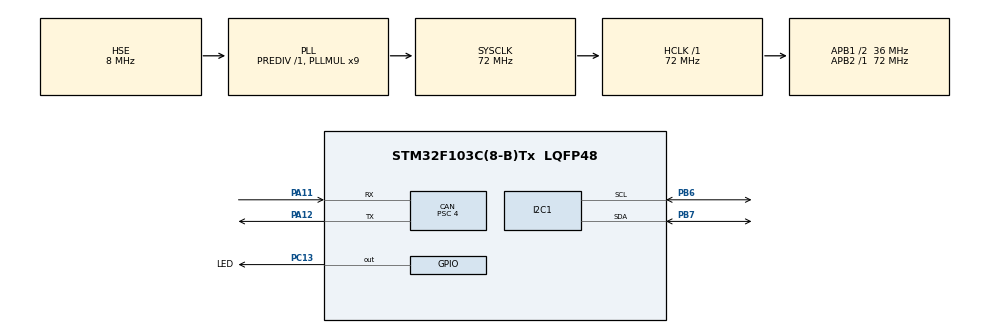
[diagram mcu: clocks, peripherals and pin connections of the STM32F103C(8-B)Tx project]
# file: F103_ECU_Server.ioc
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CAN.ABOM=ENABLE
CAN.BS1=CAN_BS1_13TQ
CAN.BS2=CAN_BS2_4TQ
CAN.CalculateTimeBit=2000
CAN.CalculateTimeQuantum=111.11111111111111
CAN.NART=ENABLE
CAN.Prescaler=4
FREERTOS.Tasks01=defaultTask,0,128,StartDefaultTask,Default,NULL,Dynamic,NULL,NULL
Mcu.Family=STM32F1
Mcu.Name=STM32F103C(8-B)Tx
Mcu.Package=LQFP48
NVIC.CAN1_SCE_IRQn=true\:5\:0\:false\:false\:true\:false\:true\:true
NVIC.PriorityGroup=NVIC_PRIORITYGROUP_4
NVIC.TIM1_UP_IRQn=true\:0\:0\:false\:false\:true\:false\:false\:true
NVIC.TimeBase=TIM1_UP_IRQn
NVIC.TimeBaseIP=TIM1
NVIC.USB_LP_CAN1_RX0_IRQn=true\:5\:0\:false\:false\:true\:false\:true\:true
PA11.Mode=Master
PA11.Signal=CAN_RX
PA12.Mode=Master
PA12.Signal=CAN_TX
PA13.Mode=Serial_Wire
PA13.Signal=SYS_JTMS-SWDIO
PA14.Mode=Serial_Wire
PA14.Signal=SYS_JTCK-SWCLK
PB6.Mode=I2C
PB6.Signal=I2C1_SCL
PB7.Mode=I2C
PB7.Signal=I2C1_SDA
PC13-TAMPER-RTC.GPIO_Label=LED
PC13-TAMPER-RTC.Signal=GPIO_Output
PD0-OSC_IN.Mode=HSE-External-Oscillator
PD0-OSC_IN.Signal=RCC_OSC_IN
PD1-OSC_OUT.Mode=HSE-External-Oscillator
PD1-OSC_OUT.Signal=RCC_OSC_OUT
ProjectManager.HeapSize=0x200
ProjectManager.StackSize=0x400
ProjectManager.TargetToolchain=STM32CubeIDE
RCC.AHBFreq_Value=72000000
RCC.APB1CLKDivider=RCC_HCLK_DIV2
RCC.APB1Freq_Value=36000000
RCC.APB1TimFreq_Value=72000000
RCC.APB2Freq_Value=72000000
RCC.APB2TimFreq_Value=72000000
RCC.HCLKFreq_Value=72000000
RCC.PLLMUL=RCC_PLL_MUL9
RCC.PLLSourceVirtual=RCC_PLLSOURCE_HSE
RCC.SYSCLKFreq_VALUE=72000000
RCC.SYSCLKSource=RCC_SYSCLKSOURCE_PLLCLK
RCC.USBFreq_Value=72000000
VP_FREERTOS_VS_CMSIS_V1.Mode=CMSIS_V1
VP_SYS_VS_tim1.Mode=TIM1
board=custom

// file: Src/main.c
/* USER CODE BEGIN Header */
/**
  ******************************************************************************
  * @file           : main.c
  * @brief          : Main program body
  ******************************************************************************
  * @attention
  *
  * <h2><center>&copy; Copyright (c) 2026 STMicroelectronics.
  * All rights reserved.</center></h2>
  *
  * This software component is licensed by ST under BSD 3-Clause license,
  * the "License"; You may not use this file except in compliance with the
  * License. You may obtain a copy of the License at:
  *                        opensource.org/licenses/BSD-3-Clause
  *
  ******************************************************************************
  */
/* USER CODE END Header */
#include "main.h"
#include "cmsis_os.h"

/* USER CODE BEGIN Includes */
#include "minidcm_osal.h"
#include "can_if.h"
#include "ecu_app.h"
#include "minidcm_error.h"
#include "minidcm_runtime_stats.h"
#include "minidcm_scheduler.h"
#include "queue.h"
#include "task.h"
#include "minidcm_task_runtime.h"
#include "mpu6050_hal_port.h"
/* USER CODE END Includes */

/* USER CODE BEGIN PTD */
static uint32_t F103_GetTickMs(void);
static void F103_EnterCritical(void);
static void F103_ExitCritical(void);
static void Led_MainFunction(uint32_t now_ms);
/* USER CODE END PTD */

/* USER CODE BEGIN PD */
#define ECU_SCHEDULER_TASK_COUNT 2u
/* USER CODE END PD */

CAN_HandleTypeDef hcan;

I2C_HandleTypeDef hi2c1;

osThreadId defaultTaskHandle;
/* USER CODE BEGIN PV */
osThreadId dcmTaskHandle;
osThreadId monitorTaskHandle;
osThreadId heartbeatTaskHandle;

static const MiniDcm_OsalConfigType g_osal_config =
{
    F103_GetTickMs,
    F103_EnterCritical,
    F103_ExitCritical,
    0
};

static MiniDcm_SchedulerType g_ecu_scheduler;
static MiniDcm_SchedulerTaskType g_ecu_scheduler_tasks[ECU_SCHEDULER_TASK_COUNT] =
{
    {EcuApp_MainFunction, 1u, 0u, TRUE},
    {Led_MainFunction, 500u, 0u, TRUE}
};
/* USER CODE END PV */

void SystemClock_Config(void);
static void MX_GPIO_Init(void);
static void MX_CAN_Init(void);
static void MX_I2C1_Init(void);
void StartDefaultTask(void const * argument);

/* USER CODE BEGIN PFP */
void StartDcmTask(void const * argument);
void StartMonitorTask(void const * argument);
void StartHeartbeatTask(void const * argument);

/* USER CODE END PFP */

/* USER CODE BEGIN 0 */
static uint32_t F103_GetTickMs(void)
{
    return HAL_GetTick();
}

static void F103_EnterCritical(void)
{
    taskENTER_CRITICAL();
}

static void F103_ExitCritical(void)
{
    taskEXIT_CRITICAL();
}

static void Led_MainFunction(uint32_t now_ms)
{
    (void)now_ms;
    HAL_GPIO_TogglePin(LED_GPIO_Port, LED_Pin);
}
static QueueHandle_t s_f103_can_rx_queue;

static CanIf_StatusType F103_CanRxQueuePushFromIsr(const CanIf_FrameType *frame, void *context)
{
    QueueHandle_t queue = (QueueHandle_t)context;

    if ((queue == NULL) || (frame == NULL))
    {
        return CANIF_ERR_PARAM;
    }

    if (xQueueSendFromISR(queue, frame, NULL) != pdPASS)
    {
        MiniDcm_TaskRuntime_OnCanRxQueuePushRejectedFromIsr();
        return CANIF_ERR_FULL;
    }

    MiniDcm_TaskRuntime_OnCanRxQueuePushFromIsr((uint32_t)uxQueueMessagesWaitingFromISR(queue));
    return CANIF_OK;
}

static CanIf_StatusType F103_CanRxQueuePop(CanIf_FrameType *frame, void *context)
{
    QueueHandle_t queue = (QueueHandle_t)context;

    if ((queue == NULL) || (frame == NULL))
    {
        return CANIF_ERR_PARAM;
    }

    return (xQueueReceive(queue, frame, 0u) == pdPASS) ? CANIF_OK : CANIF_ERR_EMPTY;
}

static CanIf_StatusType F103_ConfigureCanIfRxQueue(void)
{
    static const CanIf_RxQueueBackendType backend =
    {
        F103_CanRxQueuePushFromIsr,
        F103_CanRxQueuePop,
        0
    };
    CanIf_RxQueueBackendType configured_backend = backend;

    s_f103_can_rx_queue = xQueueCreate(16u, sizeof(CanIf_FrameType));
    if (s_f103_can_rx_queue == NULL)
    {
        return CANIF_ERR_FULL;
    }

    configured_backend.context = (void *)s_f103_can_rx_queue;
    return CanIf_SetRxQueueBackend(&configured_backend);
}

/* USER CODE END 0 */

int main(void)
{

  /* MCU Configuration--------------------------------------------------------*/

  /* Reset of all peripherals, Initializes the Flash interface and the Systick. */
  HAL_Init();

  /* Configure the system clock */
  SystemClock_Config();

  /* Initialize all configured peripherals */
  MX_GPIO_Init();
  MX_CAN_Init();
  MX_I2C1_Init();
  F103_Mpu6050_RegisterSensorApp();
  /* USER CODE BEGIN 2 */
  MiniDcm_Error_Init();

  if (MiniDcm_Osal_Init(&g_osal_config) != E_OK)
  {
      Error_Handler();
  }
  MiniDcm_RuntimeStats_Init();

  CanIf_Init(&hcan);
  if (F103_ConfigureCanIfRxQueue() != CANIF_OK)
  {
      Error_Handler();
  }
  if (CanIf_Start() != CANIF_OK)
  {
      Error_Handler();
  }

  if (MiniDcm_Scheduler_InitWithOsal(&g_ecu_scheduler,
                                     g_ecu_scheduler_tasks,
                                     ECU_SCHEDULER_TASK_COUNT) != E_OK)
  {
      Error_Handler();
  }
  /* USER CODE END 2 */

  /* Create the thread(s) */
  /* definition and creation of defaultTask */
  osThreadDef(defaultTask, StartDefaultTask, osPriorityNormal, 0, 128);
  defaultTaskHandle = osThreadCreate(osThread(defaultTask), NULL);

  /* USER CODE BEGIN RTOS_THREADS */
  osThreadDef(dcmTask, StartDcmTask, osPriorityAboveNormal, 0, 512);
  dcmTaskHandle = osThreadCreate(osThread(dcmTask), NULL);

  osThreadDef(monitorTask, StartMonitorTask, osPriorityNormal, 0, 256);
  monitorTaskHandle = osThreadCreate(osThread(monitorTask), NULL);

  osThreadDef(heartbeatTask, StartHeartbeatTask, osPriorityLow, 0, 128);
  heartbeatTaskHandle = osThreadCreate(osThread(heartbeatTask), NULL);

  if ((dcmTaskHandle == NULL) || (monitorTaskHandle == NULL) || (heartbeatTaskHandle == NULL))
  {
    Error_Handler();
  }
  /* USER CODE END RTOS_THREADS */

  /* Start scheduler */
  osKernelStart();

  /* We should never get here as control is now taken by the scheduler */
  /* Infinite loop */
  /* USER CODE BEGIN WHILE */
  while (1)
  {
      MiniDcm_Scheduler_RunWithOsal(&g_ecu_scheduler);
    /* USER CODE END WHILE */

  }
}

void SystemClock_Config(void)
{
  RCC_OscInitTypeDef RCC_OscInitStruct = {0};
  RCC_ClkInitTypeDef RCC_ClkInitStruct = {0};

  /** Initializes the RCC Oscillators according to the specified parameters
  * in the RCC_OscInitTypeDef structure.
  */
  RCC_OscInitStruct.OscillatorType = RCC_OSCILLATORTYPE_HSE;
  RCC_OscInitStruct.HSEState = RCC_HSE_ON;
  RCC_OscInitStruct.HSEPredivValue = RCC_HSE_PREDIV_DIV1;
  RCC_OscInitStruct.HSIState = RCC_HSI_ON;
  RCC_OscInitStruct.PLL.PLLState = RCC_PLL_ON;
  RCC_OscInitStruct.PLL.PLLSource = RCC_PLLSOURCE_HSE;
  RCC_OscInitStruct.PLL.PLLMUL = RCC_PLL_MUL9;
  if (HAL_RCC_OscConfig(&RCC_OscInitStruct) != HAL_OK)
  {
    Error_Handler();
  }
  /** Initializes the CPU, AHB and APB buses clocks
  */
  RCC_ClkInitStruct.ClockType = RCC_CLOCKTYPE_HCLK|RCC_CLOCKTYPE_SYSCLK
                              |RCC_CLOCKTYPE_PCLK1|RCC_CLOCKTYPE_PCLK2;
  RCC_ClkInitStruct.SYSCLKSource = RCC_SYSCLKSOURCE_PLLCLK;
  RCC_ClkInitStruct.AHBCLKDivider = RCC_SYSCLK_DIV1;
  RCC_ClkInitStruct.APB1CLKDivider = RCC_HCLK_DIV2;
  RCC_ClkInitStruct.APB2CLKDivider = RCC_HCLK_DIV1;

  if (HAL_RCC_ClockConfig(&RCC_ClkInitStruct, FLASH_LATENCY_2) != HAL_OK)
  {
    Error_Handler();
  }
}

static void MX_CAN_Init(void)
{

  hcan.Instance = CAN1;
  hcan.Init.Prescaler = 4;
  hcan.Init.Mode = CAN_MODE_NORMAL;
  hcan.Init.SyncJumpWidth = CAN_SJW_1TQ;
  hcan.Init.TimeSeg1 = CAN_BS1_13TQ;
  hcan.Init.TimeSeg2 = CAN_BS2_4TQ;
  hcan.Init.TimeTriggeredMode = DISABLE;
  hcan.Init.AutoBusOff = ENABLE;
  hcan.Init.AutoWakeUp = DISABLE;
  hcan.Init.AutoRetransmission = ENABLE;
  hcan.Init.ReceiveFifoLocked = DISABLE;
  hcan.Init.TransmitFifoPriority = DISABLE;
  if (HAL_CAN_Init(&hcan) != HAL_OK)
  {
    Error_Handler();
  }

}

static void MX_I2C1_Init(void)
{

  hi2c1.Instance = I2C1;
  hi2c1.Init.ClockSpeed = 100000;
  hi2c1.Init.DutyCycle = I2C_DUTYCYCLE_2;
  hi2c1.Init.OwnAddress1 = 0;
  hi2c1.Init.AddressingMode = I2C_ADDRESSINGMODE_7BIT;
  hi2c1.Init.DualAddressMode = I2C_DUALADDRESS_DISABLE;
  hi2c1.Init.OwnAddress2 = 0;
  hi2c1.Init.GeneralCallMode = I2C_GENERALCALL_DISABLE;
  hi2c1.Init.NoStretchMode = I2C_NOSTRETCH_DISABLE;
  if (HAL_I2C_Init(&hi2c1) != HAL_OK)
  {
    Error_Handler();
  }

}

static void MX_GPIO_Init(void)
{
  GPIO_InitTypeDef GPIO_InitStruct = {0};

  /* GPIO Ports Clock Enable */
  __HAL_RCC_GPIOC_CLK_ENABLE();
  __HAL_RCC_GPIOD_CLK_ENABLE();
  __HAL_RCC_GPIOA_CLK_ENABLE();
  __HAL_RCC_GPIOB_CLK_ENABLE();

  /*Configure GPIO pin Output Level */
  HAL_GPIO_WritePin(LED_GPIO_Port, LED_Pin, GPIO_PIN_RESET);

  /*Configure GPIO pin : LED_Pin */
  GPIO_InitStruct.Pin = LED_Pin;
  GPIO_InitStruct.Mode = GPIO_MODE_OUTPUT_PP;
  GPIO_InitStruct.Pull = GPIO_NOPULL;
  GPIO_InitStruct.Speed = GPIO_SPEED_FREQ_LOW;
  HAL_GPIO_Init(LED_GPIO_Port, &GPIO_InitStruct);

}

/* USER CODE BEGIN 4 */

static void MiniDcm_FreeRtosHeartbeatHook(void)
{
#if defined(LED_GPIO_Port) && defined(LED_Pin)
  HAL_GPIO_TogglePin(LED_GPIO_Port, LED_Pin);
#endif
}

void StartDcmTask(void const * argument)
{
  (void)argument;

  for (;;)
  {
    if (ulTaskNotifyTake(pdTRUE, pdMS_TO_TICKS(1u)) > 0u)
    {
      MiniDcm_TaskRuntime_RecordDcmNotificationWakeup();
    }
    MiniDcm_TaskRuntime_DcmOnce();
    MiniDcm_TaskRuntime_UpdateDcmStackHighWaterMark((uint32_t)uxTaskGetStackHighWaterMark(NULL));
    osDelay(1);
  }
}

void StartMonitorTask(void const * argument)
{
  (void)argument;

  for (;;)
  {
    MiniDcm_TaskRuntime_MonitorOnce();
    MiniDcm_TaskRuntime_UpdateMonitorStackHighWaterMark((uint32_t)uxTaskGetStackHighWaterMark(NULL));
    osDelay(100);
  }
}

void StartHeartbeatTask(void const * argument)
{
  (void)argument;

  for (;;)
  {
    MiniDcm_TaskRuntime_HeartbeatOnce(MiniDcm_FreeRtosHeartbeatHook);

    MiniDcm_TaskRuntime_UpdateHeartbeatStackHighWaterMark((uint32_t)uxTaskGetStackHighWaterMark(NULL));
    osDelay(500);
  }
}
void HAL_CAN_RxFifo0MsgPendingCallback(CAN_HandleTypeDef *hcan_arg)
{
    CanIf_FrameType rx_frame = {0};

    if (CanIf_ReadRxFifo0(hcan_arg, &rx_frame) != CANIF_OK)
    {
        return;
    }

    if ((rx_frame.id == CANIF_ECU_REQUEST_ID) || (rx_frame.id == CANIF_FUNCTIONAL_REQUEST_ID))
    {
        if (CanIf_RxIndication(&rx_frame) == CANIF_OK)
        {
            BaseType_t higher_priority_task_woken = pdFALSE;

            if (dcmTaskHandle != NULL)
            {
                MiniDcm_TaskRuntime_OnCanRxNotificationFromIsr();
                vTaskNotifyGiveFromISR((TaskHandle_t)dcmTaskHandle, &higher_priority_task_woken);
                portYIELD_FROM_ISR(higher_priority_task_woken);
            }
        }
    }
}

void HAL_CAN_ErrorCallback(CAN_HandleTypeDef *hcan_arg)
{
    if (hcan_arg->Instance == CAN1)
    {
        CanIf_OnError(hcan_arg);
    }
}
/* USER CODE END 4 */

void StartDefaultTask(void const * argument)
{
  for(;;)
  {
    osDelay(1);
  }
}

void HAL_TIM_PeriodElapsedCallback(TIM_HandleTypeDef *htim)
{
  if (htim->Instance == TIM1) {
    HAL_IncTick();
  }
}

void Error_Handler(void)
{
}

/************************ (C) COPYRIGHT STMicroelectronics *****END OF FILE****/
